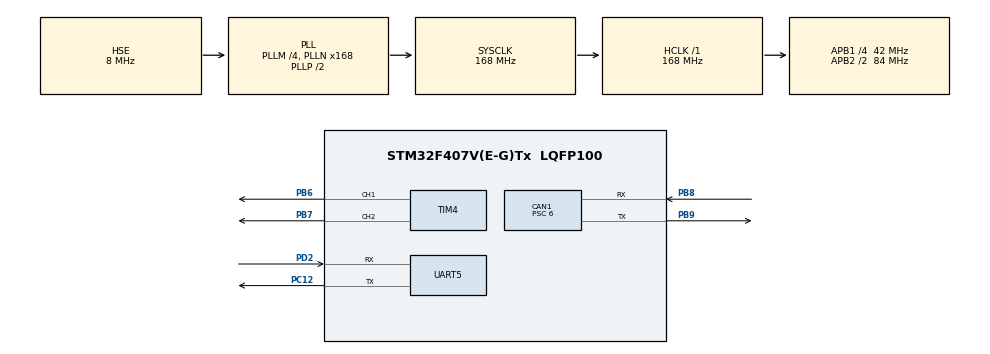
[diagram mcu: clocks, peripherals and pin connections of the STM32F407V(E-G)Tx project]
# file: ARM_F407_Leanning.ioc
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CAN1.BS1=CAN_BS1_8TQ
CAN1.BS2=CAN_BS2_5TQ
CAN1.CalculateBaudRate=500000
CAN1.CalculateTimeBit=2000
CAN1.CalculateTimeQuantum=142.85714285714286
CAN1.Prescaler=6
Mcu.Family=STM32F4
Mcu.Name=STM32F407V(E-G)Tx
Mcu.Package=LQFP100
NVIC.PriorityGroup=NVIC_PRIORITYGROUP_4
NVIC.UART5_IRQn=true\:0\:0\:false\:false\:true\:true\:true\:true
PA13.Mode=Serial_Wire
PA13.Signal=SYS_JTMS-SWDIO
PA14.Mode=Serial_Wire
PA14.Signal=SYS_JTCK-SWCLK
PB6.Signal=S_TIM4_CH1
PB7.Signal=S_TIM4_CH2
PB8.Mode=CAN_Activate
PB8.Signal=CAN1_RX
PB9.Mode=CAN_Activate
PB9.Signal=CAN1_TX
PC12.Mode=Asynchronous
PC12.Signal=UART5_TX
PD2.Mode=Asynchronous
PD2.Signal=UART5_RX
PH0-OSC_IN.Mode=HSE-External-Oscillator
PH0-OSC_IN.Signal=RCC_OSC_IN
PH1-OSC_OUT.Mode=HSE-External-Oscillator
PH1-OSC_OUT.Signal=RCC_OSC_OUT
ProjectManager.HeapSize=0x200
ProjectManager.StackSize=0x400
ProjectManager.TargetToolchain=STM32CubeIDE
RCC.48MHZClocksFreq_Value=84000000
RCC.AHBFreq_Value=168000000
RCC.APB1CLKDivider=RCC_HCLK_DIV4
RCC.APB1Freq_Value=42000000
RCC.APB1TimFreq_Value=84000000
RCC.APB2CLKDivider=RCC_HCLK_DIV2
RCC.APB2Freq_Value=84000000
RCC.APB2TimFreq_Value=168000000
RCC.CortexFreq_Value=168000000
RCC.HCLKFreq_Value=168000000
RCC.HSE_VALUE=8000000
RCC.HSI_VALUE=16000000
RCC.LSE_VALUE=32768
RCC.PLLM=4
RCC.PLLN=168
RCC.PLLSourceVirtual=RCC_PLLSOURCE_HSE
RCC.SYSCLKFreq_VALUE=168000000
RCC.SYSCLKSource=RCC_SYSCLKSOURCE_PLLCLK
RCC.VCOOutputFreq_Value=336000000
SH.S_TIM4_CH1.0=TIM4_CH1,PWM Generation1 CH1
SH.S_TIM4_CH2.0=TIM4_CH2,PWM Generation2 CH2
TIM4.Channel-PWM\ Generation1\ CH1=TIM_CHANNEL_1
TIM4.Channel-PWM\ Generation2\ CH2=TIM_CHANNEL_2
UART5.VirtualMode=Asynchronous
VP_TIM4_VS_ClockSourceINT.Mode=Internal
board=custom

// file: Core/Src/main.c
/* USER CODE BEGIN Header */
/**
  ******************************************************************************
  * @file           : main.c
  * @brief          : Main program body
  ******************************************************************************
  * @attention
  *
  * Copyright (c) 2025 STMicroelectronics.
  * All rights reserved.
  *
  * This software is licensed under terms that can be found in the LICENSE file
  * in the root directory of this software component.
  * If no LICENSE file comes with this software, it is provided AS-IS.
  *
  ******************************************************************************
  */
/* USER CODE END Header */
#include "main.h"
#include "can.h"
#include "tim.h"
#include "usart.h"
#include "gpio.h"

/* USER CODE BEGIN Includes */

#include "FS-iA6B.h"

/* USER CODE END Includes */

/* USER CODE BEGIN PTD */

#define ERPM_MAX   4000
#define ERPM_MIN  -4000

#define VESC1 64
#define VESC2 67
#define VESC3 101
#define VESC4 100

/* USER CODE END PTD */

/* USER CODE BEGIN PD */

extern uint8_t ibus_rx_buf[32];  // Ibus
extern uint8_t ibus_rx_cplt_flag;

CAN_TxHeaderTypeDef Can_Tx_Header;

uint32_t TxMailBox;

uint8_t Can_Tx_Data[8] = { 0x00, 0x00, 0x00, 0x00, 0x00, 0x00, 0x00, 0x00 };

/* USER CODE END PD */

void SystemClock_Config(void);

int main(void)
{

  /* MCU Configuration--------------------------------------------------------*/

  /* Reset of all peripherals, Initializes the Flash interface and the Systick. */
  HAL_Init();

  /* Configure the system clock */
  SystemClock_Config();

  /* Initialize all configured peripherals */
  MX_GPIO_Init();
  MX_CAN1_Init();
  MX_UART5_Init();
  MX_TIM4_Init();
  /* USER CODE BEGIN 2 */

  HAL_CAN_Start(&hcan1);

  LL_USART_EnableIT_RXNE(UART5); // bat ngat ibus

    Can_Tx_Header.DLC = 8;
    Can_Tx_Header.ExtId = 0x00000064;
    Can_Tx_Header.IDE = CAN_ID_EXT;
    Can_Tx_Header.RTR = CAN_RTR_DATA;
    Can_Tx_Header.TransmitGlobalTime = DISABLE;

  /* USER CODE END 2 */

  /* Infinite loop */
  /* USER CODE BEGIN WHILE */
  while (1)
  {
	  if(iBus.SwA == 2000)
	  {
		  if(iBus.RV > 1530 || iBus.RV < 1470)
		  {
			  int16_t control = (int16_t)(iBus.RV - 1500)/2;
			  Can_Tx_Data[0] = (control >> 8) & 0xFF;
			  Can_Tx_Data[1] = (control >> 8) & 0xFF;
			  Can_Tx_Data[2] = control & 0xFF;

			  Can_Tx_Header.ExtId = 0x00000064;
			  HAL_CAN_AddTxMessage(&hcan1, &Can_Tx_Header, Can_Tx_Data, &TxMailBox);
			  Can_Tx_Header.ExtId = 0x00000065;
			  HAL_CAN_AddTxMessage(&hcan1, &Can_Tx_Header, Can_Tx_Data, &TxMailBox);
			  Can_Tx_Header.ExtId = 0x00000040;
			  HAL_CAN_AddTxMessage(&hcan1, &Can_Tx_Header, Can_Tx_Data, &TxMailBox);
			  HAL_Delay(1);
			  Can_Tx_Header.ExtId = 0x00000043;
			  HAL_CAN_AddTxMessage(&hcan1, &Can_Tx_Header, Can_Tx_Data, &TxMailBox);

		  }
		  else
		  {
			  Can_Tx_Data[0] = 0;
			  Can_Tx_Data[1] = 0;
			  Can_Tx_Data[2] = 0;

			  Can_Tx_Header.ExtId = 0x00000064;
			  HAL_CAN_AddTxMessage(&hcan1, &Can_Tx_Header, Can_Tx_Data, &TxMailBox);
			  Can_Tx_Header.ExtId = 0x00000065;
			  HAL_CAN_AddTxMessage(&hcan1, &Can_Tx_Header, Can_Tx_Data, &TxMailBox);
			  Can_Tx_Header.ExtId = 0x00000040;
			  HAL_CAN_AddTxMessage(&hcan1, &Can_Tx_Header, Can_Tx_Data, &TxMailBox);
			  HAL_Delay(1);
			  Can_Tx_Header.ExtId = 0x00000043;
			  HAL_CAN_AddTxMessage(&hcan1, &Can_Tx_Header, Can_Tx_Data, &TxMailBox);
		  }
	  }
	  else
	  {
		  Can_Tx_Data[0] = 0;
		  Can_Tx_Data[1] = 0;
		  Can_Tx_Data[2] = 0;
		  Can_Tx_Header.ExtId = 0x00000064;
		  HAL_CAN_AddTxMessage(&hcan1, &Can_Tx_Header, Can_Tx_Data, &TxMailBox);
		  Can_Tx_Header.ExtId = 0x00000065;
		  HAL_CAN_AddTxMessage(&hcan1, &Can_Tx_Header, Can_Tx_Data, &TxMailBox);
		  Can_Tx_Header.ExtId = 0x00000040;
		  HAL_CAN_AddTxMessage(&hcan1, &Can_Tx_Header, Can_Tx_Data, &TxMailBox);
		  HAL_Delay(1);
		  Can_Tx_Header.ExtId = 0x00000043;
		  HAL_CAN_AddTxMessage(&hcan1, &Can_Tx_Header, Can_Tx_Data, &TxMailBox);
	  }

		// Check Connect IBus
		if(ibus_rx_cplt_flag == 1)
		{
		  ibus_rx_cplt_flag = 0;
		  if(iBus_Check_CHKSUM(&ibus_rx_buf[0], 32) == 1)
		  {
			  iBus_Parsing(&ibus_rx_buf[0], &iBus);
		  }
		}
		HAL_Delay(1);

    /* USER CODE END WHILE */

  }
}

void SystemClock_Config(void)
{
  RCC_OscInitTypeDef RCC_OscInitStruct = {0};
  RCC_ClkInitTypeDef RCC_ClkInitStruct = {0};

  /** Configure the main internal regulator output voltage
  */
  __HAL_RCC_PWR_CLK_ENABLE();
  __HAL_PWR_VOLTAGESCALING_CONFIG(PWR_REGULATOR_VOLTAGE_SCALE1);

  /** Initializes the RCC Oscillators according to the specified parameters
  * in the RCC_OscInitTypeDef structure.
  */
  RCC_OscInitStruct.OscillatorType = RCC_OSCILLATORTYPE_HSE;
  RCC_OscInitStruct.HSEState = RCC_HSE_ON;
  RCC_OscInitStruct.PLL.PLLState = RCC_PLL_ON;
  RCC_OscInitStruct.PLL.PLLSource = RCC_PLLSOURCE_HSE;
  RCC_OscInitStruct.PLL.PLLM = 4;
  RCC_OscInitStruct.PLL.PLLN = 168;
  RCC_OscInitStruct.PLL.PLLP = RCC_PLLP_DIV2;
  RCC_OscInitStruct.PLL.PLLQ = 4;
  if (HAL_RCC_OscConfig(&RCC_OscInitStruct) != HAL_OK)
  {
    Error_Handler();
  }

  /** Initializes the CPU, AHB and APB buses clocks
  */
  RCC_ClkInitStruct.ClockType = RCC_CLOCKTYPE_HCLK|RCC_CLOCKTYPE_SYSCLK
                              |RCC_CLOCKTYPE_PCLK1|RCC_CLOCKTYPE_PCLK2;
  RCC_ClkInitStruct.SYSCLKSource = RCC_SYSCLKSOURCE_PLLCLK;
  RCC_ClkInitStruct.AHBCLKDivider = RCC_SYSCLK_DIV1;
  RCC_ClkInitStruct.APB1CLKDivider = RCC_HCLK_DIV4;
  RCC_ClkInitStruct.APB2CLKDivider = RCC_HCLK_DIV2;

  if (HAL_RCC_ClockConfig(&RCC_ClkInitStruct, FLASH_LATENCY_5) != HAL_OK)
  {
    Error_Handler();
  }
}

void Error_Handler(void)
{
  __disable_irq();
  while (1)
  {
  }
}
